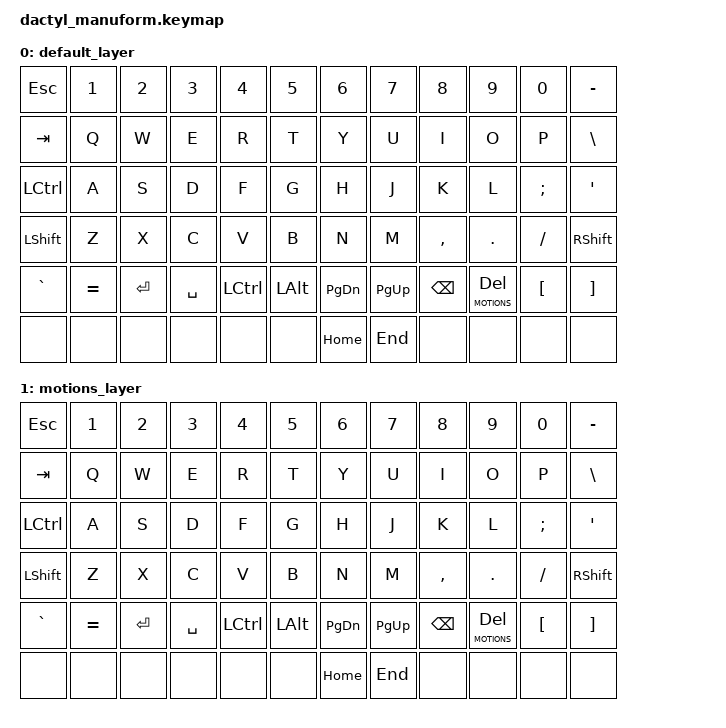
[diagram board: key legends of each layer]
/*
 * Copyright (c) 2021 The ZMK Contributors
 *
 * SPDX-License-Identifier: MIT
 */

#include <behaviors.dtsi>
#include <dt-bindings/zmk/keys.h>
#include <dt-bindings/zmk/bt.h>
#include <dt-bindings/zmk/ext_power.h>
#include <dt-bindings/zmk/outputs.h>

// choose to prioritize BLE or USB
#define OUT_BLE
// #define OUT_USB

#define DEFAULT 0
#define MOTIONS 1
#define NUMBERS 2

/ {
    keymap {
        compatible =  "zmk,keymap" ;

        default_layer {
// --------------------------------------------------------------------------------------------------------------------------------
// | ESC   |  1  |  2  |   3   |  4  |  5  |                   ---                |  6    |  7    |  8    |  9   | 0  |    BKSP   |
// | TAB   |  Q  |  W  |   E   |  R  |  T  |   (   |           ---        |  )    |  Y    |  U    |  I    |  O   | P  |     -     |
// | CTRL  |  A  |  S  |   D   |  F  |  G  |   [   |           ---        |  ]    |  H    |  J    |  K    |  L   | ;  |     '     |
// | SHIFT |  Z  |  X  |   C   |  V  |  B  | PG_UP | PG_DOWN | --- | HOME | END   |  N    |  M    |  ,    |  .   | /  | SHFT(RET) |
// | CRTL  | ALT | GUI | LOWER |    GUI    | LOWER | SPACE   | --- | DEL  | SPACE |     RAISE     | LEFT  | DOWN | UP |   RIGHT   |
bindings = <


&kp ESC     &kp N1      &kp N2      &kp N3      &kp N4      &kp N5              &kp N6      &kp N7      &kp N8     &kp N9       &kp N0      &kp MINUS

&kp TAB     &kp Q       &kp W       &kp E       &kp R       &kp T               &kp Y       &kp U       &kp I      &kp O        &kp P       &kp BSLH

&kp LCTRL   &kp A       &kp S       &kp D       &kp F       &kp G               &kp H       &kp J       &kp K      &kp L        &kp SEMI    &kp APOS

&kp LSHFT   &kp Z       &kp X       &kp C       &kp V       &kp B               &kp N       &kp M       &kp COMMA  &kp DOT      &kp FSLH    &kp RSHFT

&kp GRAVE   &kp EQUAL   &kp ENTER   &kp SPACE   &kp LCTRL   &kp LALT            &kp PG_DN   &kp PG_UP   &kp BSPC   &lt MOTIONS DEL &kp LBKT &kp RBKT

&none       &none       &none       &none       &none       &none               &kp HOME    &kp END     &none      &none        &none       &none


                >;
        };

motions_layer {
// --------------------------------------------------------------------------------------------------------------------------------
// | ESC   |  1  |  2  |   3   |  4  |  5  |                   ---                |  6    |  7    |  8    |  9   | 0  |    BKSP   |
// | TAB   |  Q  |  W  |   E   |  R  |  T  |   (   |           ---        |  )    |  Y    |  U    |  I    |  O   | P  |     -     |
// | CTRL  |  A  |  S  |   D   |  F  |  G  |   [   |           ---        |  ]    |  H    |  J    |  K    |  L   | ;  |     '     |
// | SHIFT |  Z  |  X  |   C   |  V  |  B  | PG_UP | PG_DOWN | --- | HOME | END   |  N    |  M    |  ,    |  .   | /  | SHFT(RET) |
// | CRTL  | ALT | GUI | LOWER |    GUI    | LOWER | SPACE   | --- | DEL  | SPACE |     RAISE     | LEFT  | DOWN | UP |   RIGHT   |
bindings = <


&kp ESC     &kp N1      &kp N2      &kp N3      &kp N4      &kp N5              &kp N6      &kp N7      &kp N8     &kp N9       &kp N0      &kp MINUS

&kp TAB     &kp Q       &kp W       &kp E       &kp R       &kp T               &kp Y       &kp U       &kp I      &kp O        &kp P       &kp BSLH

&kp LCTRL   &kp A       &kp S       &kp D       &kp F       &kp G               &kp H       &kp J       &kp K      &kp L        &kp SEMI    &kp APOS

&kp LSHFT   &kp Z       &kp X       &kp C       &kp V       &kp B               &kp N       &kp M       &kp COMMA  &kp DOT      &kp FSLH    &kp RSHFT

&kp GRAVE   &kp EQUAL   &kp ENTER   &kp SPACE   &kp LCTRL   &kp LALT            &kp PG_DN   &kp PG_UP   &kp BSPC   &lt MOTIONS DEL &kp LBKT &kp RBKT

&none       &none       &none       &none       &none       &none               &kp HOME    &kp END     &none      &none        &none       &none


                >;
        };

    };
};
